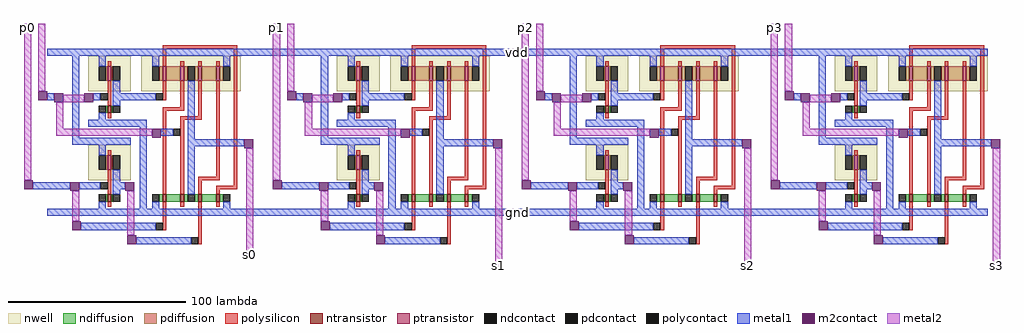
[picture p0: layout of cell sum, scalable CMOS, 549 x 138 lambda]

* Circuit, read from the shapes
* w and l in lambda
.subckt sum c0 c1 c2 c3 gnd p0 p1 p2 p3 s0 s1 s2 s3 vdd
M1 n1 p0 gnd VSUBS nfet w=4 l=2
M2 n2 c0 gnd VSUBS nfet w=4 l=2
M3 n3 p0 gnd VSUBS nfet w=4 l=2
M4 s0 c0 n3 VSUBS nfet w=4 l=2
M5 n4 n1 s0 VSUBS nfet w=4 l=2
M6 gnd n2 n4 VSUBS nfet w=4 l=2
M7 n5 p1 gnd VSUBS nfet w=4 l=2
M8 n6 c1 gnd VSUBS nfet w=4 l=2
M9 n7 p1 gnd VSUBS nfet w=4 l=2
M10 s1 c1 n7 VSUBS nfet w=4 l=2
M11 n8 n5 s1 VSUBS nfet w=4 l=2
M12 gnd n6 n8 VSUBS nfet w=4 l=2
M13 n9 p2 gnd VSUBS nfet w=4 l=2
M14 n10 c2 gnd VSUBS nfet w=4 l=2
M15 n11 p2 gnd VSUBS nfet w=4 l=2
M16 s2 c2 n11 VSUBS nfet w=4 l=2
M17 n12 n9 s2 VSUBS nfet w=4 l=2
M18 gnd n10 n12 VSUBS nfet w=4 l=2
M19 n13 p3 gnd VSUBS nfet w=4 l=2
M20 n14 c3 gnd VSUBS nfet w=4 l=2
M21 n15 p3 gnd VSUBS nfet w=4 l=2
M22 s3 c3 n15 VSUBS nfet w=4 l=2
M23 n16 n13 s3 VSUBS nfet w=4 l=2
M24 gnd n14 n16 VSUBS nfet w=4 l=2
M25 n1 p0 vdd n17 pfet w=8 l=2
M26 n2 c0 vdd n18 pfet w=8 l=2
M27 n19 n2 vdd n20 pfet w=8 l=2
M28 s0 p0 n19 n20 pfet w=8 l=2
M29 n21 c0 s0 n20 pfet w=8 l=2
M30 vdd n1 n21 n20 pfet w=8 l=2
M31 n5 p1 vdd n22 pfet w=8 l=2
M32 n6 c1 vdd n23 pfet w=8 l=2
M33 n24 n6 vdd n25 pfet w=8 l=2
M34 s1 p1 n24 n25 pfet w=8 l=2
M35 n26 c1 s1 n25 pfet w=8 l=2
M36 vdd n5 n26 n25 pfet w=8 l=2
M37 n9 p2 vdd n27 pfet w=8 l=2
M38 n10 c2 vdd n28 pfet w=8 l=2
M39 n29 n10 vdd n30 pfet w=8 l=2
M40 s2 p2 n29 n30 pfet w=8 l=2
M41 n31 c2 s2 n30 pfet w=8 l=2
M42 vdd n9 n31 n30 pfet w=8 l=2
M43 n13 p3 vdd n32 pfet w=8 l=2
M44 n14 c3 vdd n33 pfet w=8 l=2
M45 n34 n14 vdd n35 pfet w=8 l=2
M46 s3 p3 n34 n35 pfet w=8 l=2
M47 n36 c3 s3 n35 pfet w=8 l=2
M48 vdd n13 n36 n35 pfet w=8 l=2
.ends

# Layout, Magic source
magic
tech scmos
<< nwell >>
rect 139 86 163 106
rect 169 86 225 106
rect 279 86 303 106
rect 309 86 365 106
rect 419 86 443 106
rect 449 86 505 106
rect 559 86 583 106
rect 589 86 645 106
rect 139 36 163 56
rect 279 36 303 56
rect 419 36 443 56
rect 559 36 583 56
<< ntransistor >>
rect 150 74 152 78
rect 290 74 292 78
rect 430 74 432 78
rect 570 74 572 78
rect 150 24 152 28
rect 181 24 183 28
rect 191 24 193 28
rect 201 24 203 28
rect 211 24 213 28
rect 290 24 292 28
rect 321 24 323 28
rect 331 24 333 28
rect 341 24 343 28
rect 351 24 353 28
rect 430 24 432 28
rect 461 24 463 28
rect 471 24 473 28
rect 481 24 483 28
rect 491 24 493 28
rect 570 24 572 28
rect 601 24 603 28
rect 611 24 613 28
rect 621 24 623 28
rect 631 24 633 28
<< ptransistor >>
rect 150 92 152 100
rect 181 92 183 100
rect 191 92 193 100
rect 201 92 203 100
rect 211 92 213 100
rect 150 42 152 50
rect 290 92 292 100
rect 321 92 323 100
rect 331 92 333 100
rect 341 92 343 100
rect 351 92 353 100
rect 290 42 292 50
rect 430 92 432 100
rect 461 92 463 100
rect 471 92 473 100
rect 481 92 483 100
rect 491 92 493 100
rect 430 42 432 50
rect 570 92 572 100
rect 601 92 603 100
rect 611 92 613 100
rect 621 92 623 100
rect 631 92 633 100
rect 570 42 572 50
<< ndiffusion >>
rect 149 74 150 78
rect 152 74 153 78
rect 289 74 290 78
rect 292 74 293 78
rect 429 74 430 78
rect 432 74 433 78
rect 569 74 570 78
rect 572 74 573 78
rect 149 24 150 28
rect 152 24 153 28
rect 179 24 181 28
rect 183 24 191 28
rect 193 24 195 28
rect 199 24 201 28
rect 203 24 211 28
rect 213 24 215 28
rect 289 24 290 28
rect 292 24 293 28
rect 319 24 321 28
rect 323 24 331 28
rect 333 24 335 28
rect 339 24 341 28
rect 343 24 351 28
rect 353 24 355 28
rect 429 24 430 28
rect 432 24 433 28
rect 459 24 461 28
rect 463 24 471 28
rect 473 24 475 28
rect 479 24 481 28
rect 483 24 491 28
rect 493 24 495 28
rect 569 24 570 28
rect 572 24 573 28
rect 599 24 601 28
rect 603 24 611 28
rect 613 24 615 28
rect 619 24 621 28
rect 623 24 631 28
rect 633 24 635 28
<< pdiffusion >>
rect 149 92 150 100
rect 152 92 153 100
rect 179 92 181 100
rect 183 92 191 100
rect 193 92 195 100
rect 199 92 201 100
rect 203 92 211 100
rect 213 92 215 100
rect 149 42 150 50
rect 152 42 153 50
rect 289 92 290 100
rect 292 92 293 100
rect 319 92 321 100
rect 323 92 331 100
rect 333 92 335 100
rect 339 92 341 100
rect 343 92 351 100
rect 353 92 355 100
rect 289 42 290 50
rect 292 42 293 50
rect 429 92 430 100
rect 432 92 433 100
rect 459 92 461 100
rect 463 92 471 100
rect 473 92 475 100
rect 479 92 481 100
rect 483 92 491 100
rect 493 92 495 100
rect 429 42 430 50
rect 432 42 433 50
rect 569 92 570 100
rect 572 92 573 100
rect 599 92 601 100
rect 603 92 611 100
rect 613 92 615 100
rect 619 92 621 100
rect 623 92 631 100
rect 633 92 635 100
rect 569 42 570 50
rect 572 42 573 50
<< ndcontact >>
rect 145 74 149 78
rect 153 74 157 78
rect 285 74 289 78
rect 293 74 297 78
rect 425 74 429 78
rect 433 74 437 78
rect 565 74 569 78
rect 573 74 577 78
rect 145 24 149 28
rect 153 24 157 28
rect 175 24 179 28
rect 195 24 199 28
rect 215 24 219 28
rect 285 24 289 28
rect 293 24 297 28
rect 315 24 319 28
rect 335 24 339 28
rect 355 24 359 28
rect 425 24 429 28
rect 433 24 437 28
rect 455 24 459 28
rect 475 24 479 28
rect 495 24 499 28
rect 565 24 569 28
rect 573 24 577 28
rect 595 24 599 28
rect 615 24 619 28
rect 635 24 639 28
<< pdcontact >>
rect 145 92 149 100
rect 153 92 157 100
rect 175 92 179 100
rect 195 92 199 100
rect 215 92 219 100
rect 145 42 149 50
rect 153 42 157 50
rect 285 92 289 100
rect 293 92 297 100
rect 315 92 319 100
rect 335 92 339 100
rect 355 92 359 100
rect 285 42 289 50
rect 293 42 297 50
rect 425 92 429 100
rect 433 92 437 100
rect 455 92 459 100
rect 475 92 479 100
rect 495 92 499 100
rect 425 42 429 50
rect 433 42 437 50
rect 565 92 569 100
rect 573 92 577 100
rect 595 92 599 100
rect 615 92 619 100
rect 635 92 639 100
rect 565 42 569 50
rect 573 42 577 50
<< polysilicon >>
rect 181 110 223 112
rect 150 100 152 103
rect 181 100 183 110
rect 191 100 193 103
rect 201 100 203 103
rect 211 100 213 103
rect 150 78 152 92
rect 181 81 183 92
rect 191 77 193 92
rect 181 75 193 77
rect 150 71 152 74
rect 150 50 152 53
rect 150 28 152 42
rect 181 28 183 75
rect 201 72 203 92
rect 191 70 203 72
rect 191 28 193 70
rect 211 38 213 92
rect 201 36 213 38
rect 201 28 203 36
rect 221 33 223 110
rect 321 110 363 112
rect 290 100 292 103
rect 321 100 323 110
rect 331 100 333 103
rect 341 100 343 103
rect 351 100 353 103
rect 290 78 292 92
rect 321 81 323 92
rect 331 77 333 92
rect 321 75 333 77
rect 290 71 292 74
rect 290 50 292 53
rect 211 31 223 33
rect 211 28 213 31
rect 290 28 292 42
rect 321 28 323 75
rect 341 72 343 92
rect 331 70 343 72
rect 331 28 333 70
rect 351 38 353 92
rect 341 36 353 38
rect 341 28 343 36
rect 361 33 363 110
rect 461 110 503 112
rect 430 100 432 103
rect 461 100 463 110
rect 471 100 473 103
rect 481 100 483 103
rect 491 100 493 103
rect 430 78 432 92
rect 461 81 463 92
rect 471 77 473 92
rect 461 75 473 77
rect 430 71 432 74
rect 430 50 432 53
rect 351 31 363 33
rect 351 28 353 31
rect 430 28 432 42
rect 461 28 463 75
rect 481 72 483 92
rect 471 70 483 72
rect 471 28 473 70
rect 491 38 493 92
rect 481 36 493 38
rect 481 28 483 36
rect 501 33 503 110
rect 601 110 643 112
rect 570 100 572 103
rect 601 100 603 110
rect 611 100 613 103
rect 621 100 623 103
rect 631 100 633 103
rect 570 78 572 92
rect 601 81 603 92
rect 611 77 613 92
rect 601 75 613 77
rect 570 71 572 74
rect 570 50 572 53
rect 491 31 503 33
rect 491 28 493 31
rect 570 28 572 42
rect 601 28 603 75
rect 621 72 623 92
rect 611 70 623 72
rect 611 28 613 70
rect 631 38 633 92
rect 621 36 633 38
rect 621 28 623 36
rect 641 33 643 110
rect 631 31 643 33
rect 631 28 633 31
rect 150 21 152 24
rect 181 8 183 24
rect 191 21 193 24
rect 201 0 203 24
rect 211 21 213 24
rect 290 21 292 24
rect 321 8 323 24
rect 331 21 333 24
rect 341 0 343 24
rect 351 21 353 24
rect 430 21 432 24
rect 461 8 463 24
rect 471 21 473 24
rect 481 0 483 24
rect 491 21 493 24
rect 570 21 572 24
rect 601 8 603 24
rect 611 21 613 24
rect 621 0 623 24
rect 631 21 633 24
<< polycontact >>
rect 146 81 150 85
rect 177 81 181 85
rect 146 31 150 35
rect 187 61 191 65
rect 286 81 290 85
rect 317 81 321 85
rect 286 31 290 35
rect 327 61 331 65
rect 426 81 430 85
rect 457 81 461 85
rect 426 31 430 35
rect 467 61 471 65
rect 566 81 570 85
rect 597 81 601 85
rect 566 31 570 35
rect 607 61 611 65
rect 177 8 181 12
rect 197 0 201 4
rect 317 8 321 12
rect 337 0 341 4
rect 457 8 461 12
rect 477 0 481 4
rect 597 8 601 12
rect 617 0 621 4
<< metal1 >>
rect 116 106 645 110
rect 116 81 120 85
rect 130 60 134 106
rect 145 100 149 106
rect 175 100 179 106
rect 215 100 219 106
rect 153 85 157 92
rect 142 81 146 85
rect 153 81 177 85
rect 153 78 157 81
rect 145 70 149 74
rect 139 66 172 70
rect 130 56 163 60
rect 145 50 149 56
rect 153 35 157 42
rect 108 31 129 35
rect 134 31 146 35
rect 153 31 160 35
rect 153 28 157 31
rect 145 20 149 24
rect 168 20 172 66
rect 180 61 187 65
rect 195 59 199 92
rect 256 81 260 85
rect 270 60 274 106
rect 285 100 289 106
rect 315 100 319 106
rect 355 100 359 106
rect 293 85 297 92
rect 282 81 286 85
rect 293 81 317 85
rect 293 78 297 81
rect 285 70 289 74
rect 279 66 312 70
rect 195 55 227 59
rect 195 28 199 55
rect 270 56 303 60
rect 285 50 289 56
rect 293 35 297 42
rect 248 31 269 35
rect 274 31 286 35
rect 293 31 300 35
rect 293 28 297 31
rect 175 20 179 24
rect 215 20 219 24
rect 285 20 289 24
rect 308 20 312 66
rect 320 61 327 65
rect 335 59 339 92
rect 396 81 400 85
rect 410 60 414 106
rect 425 100 429 106
rect 455 100 459 106
rect 495 100 499 106
rect 433 85 437 92
rect 422 81 426 85
rect 433 81 457 85
rect 433 78 437 81
rect 425 70 429 74
rect 419 66 452 70
rect 335 55 367 59
rect 335 28 339 55
rect 410 56 443 60
rect 425 50 429 56
rect 433 35 437 42
rect 388 31 409 35
rect 414 31 426 35
rect 433 31 440 35
rect 433 28 437 31
rect 315 20 319 24
rect 355 20 359 24
rect 425 20 429 24
rect 448 20 452 66
rect 460 61 467 65
rect 475 59 479 92
rect 536 81 540 85
rect 550 60 554 106
rect 565 100 569 106
rect 595 100 599 106
rect 635 100 639 106
rect 573 85 577 92
rect 562 81 566 85
rect 573 81 597 85
rect 573 78 577 81
rect 565 70 569 74
rect 559 66 592 70
rect 475 55 507 59
rect 475 28 479 55
rect 550 56 583 60
rect 565 50 569 56
rect 573 35 577 42
rect 528 31 549 35
rect 554 31 566 35
rect 573 31 580 35
rect 573 28 577 31
rect 455 20 459 24
rect 495 20 499 24
rect 565 20 569 24
rect 588 20 592 66
rect 600 61 607 65
rect 615 59 619 92
rect 615 55 647 59
rect 615 28 619 55
rect 595 20 599 24
rect 635 20 639 24
rect 116 16 645 20
rect 135 8 177 12
rect 275 8 317 12
rect 415 8 457 12
rect 555 8 597 12
rect 166 0 197 4
rect 306 0 337 4
rect 446 0 477 4
rect 586 0 617 4
<< m2contact >>
rect 111 81 116 86
rect 120 80 125 85
rect 137 80 142 85
rect 103 31 108 36
rect 129 30 134 35
rect 160 30 165 35
rect 175 60 180 65
rect 251 81 256 86
rect 260 80 265 85
rect 277 80 282 85
rect 227 54 232 59
rect 243 31 248 36
rect 269 30 274 35
rect 300 30 305 35
rect 315 60 320 65
rect 391 81 396 86
rect 400 80 405 85
rect 417 80 422 85
rect 367 54 372 59
rect 383 31 388 36
rect 409 30 414 35
rect 440 30 445 35
rect 455 60 460 65
rect 531 81 536 86
rect 540 80 545 85
rect 557 80 562 85
rect 507 54 512 59
rect 523 31 528 36
rect 549 30 554 35
rect 580 30 585 35
rect 595 60 600 65
rect 647 54 652 59
rect 130 8 135 13
rect 270 8 275 13
rect 410 8 415 13
rect 550 8 555 13
rect 161 0 166 5
rect 301 0 306 5
rect 441 0 446 5
rect 581 0 586 5
<< metal2 >>
rect 103 36 107 124
rect 111 86 115 124
rect 125 80 137 84
rect 121 65 125 80
rect 121 61 175 65
rect 130 13 134 30
rect 161 5 165 30
rect 228 -8 232 54
rect 243 36 247 124
rect 251 86 255 124
rect 265 80 277 84
rect 261 65 265 80
rect 261 61 315 65
rect 270 13 274 30
rect 301 5 305 30
rect 368 -14 372 54
rect 383 36 387 124
rect 391 86 395 124
rect 405 80 417 84
rect 401 65 405 80
rect 401 61 455 65
rect 410 13 414 30
rect 441 5 445 30
rect 508 -14 512 54
rect 523 36 527 124
rect 531 86 535 124
rect 545 80 557 84
rect 541 65 545 80
rect 541 61 595 65
rect 550 13 554 30
rect 581 5 585 30
rect 648 -14 652 54
<< labels >>
rlabel metal2 243 120 247 124 5 p1
rlabel metal2 251 120 255 124 5 c1
rlabel metal2 383 120 387 124 5 p2
rlabel metal2 391 120 395 124 5 c2
rlabel metal2 523 120 527 124 5 p3
rlabel metal2 531 120 535 124 5 c3
rlabel metal2 648 -14 652 -10 8 s3
rlabel metal2 508 -14 512 -10 1 s2
rlabel metal2 368 -14 372 -10 1 s1
rlabel metal1 116 106 645 110 1 vdd
rlabel metal1 116 16 645 20 1 gnd
rlabel metal2 103 120 107 124 4 p0
rlabel metal2 111 120 115 124 5 c0
rlabel metal2 228 -8 232 -4 1 s0
<< end >>
